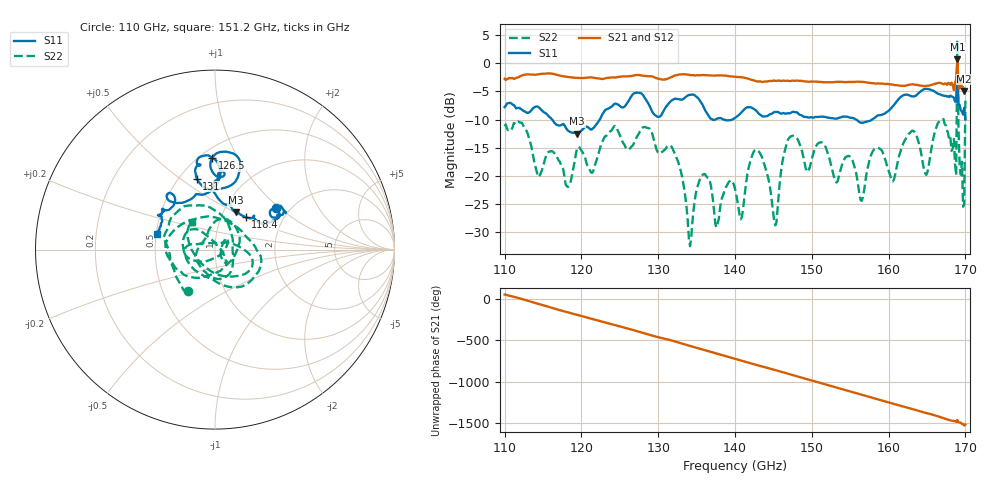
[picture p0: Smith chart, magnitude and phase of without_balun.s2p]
# GHz S RI R 50
! S-Parameters data
! Freq  reS11  imS11  reS21  imS21  reS12  imS12  reS22  imS22
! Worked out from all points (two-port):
!   401 points, 110 GHz to 170 GHz, reference 50 ohm
!   highest |S21| = 0.69 dB at 168.9 GHz (marker M1); lowest = -4.9 dB at 169.8 GHz (marker M2)
!   |S21| within 3 dB of the highest: 112 GHz to 117.6 GHz (5.625 GHz wide, 4.9 % of centre); 131.9 GHz to 139.4 GHz (7.434 GHz wide, 5.48 % of centre)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
!   lowest |S11| = -12.5 dB at 119.5 GHz (marker M3), VSWR 1.62, Z = 57 + j25.1 ohm
!   |S11| at or under -10 dB: 116.2 GHz to 122.4 GHz (6.201 GHz wide, 5.2 % of centre); 138.5 GHz to 139.7 GHz (1.125 GHz wide, 0.809 % of centre); 155.8 GHz to 157.9 GHz (2.074 GHz wide, 1.32 % of centre)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
!   |S22| runs from -32.5 to 4.1 dB; largest |S21 - S12| = 8.3e-16
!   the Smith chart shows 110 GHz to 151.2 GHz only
!   S11 on the Smith chart (normalised r, x): 110 GHz: 1.70, +0.94; 118.4 GHz: 1.30, +0.50; 126.5 GHz: 0.57, +0.79; 131 GHz: 0.61, +0.58; 151.2 GHz: 0.50, +0.10
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110  0.3385 0.2297  0.4162 0.5966  0.4162 0.5966  -0.1492 -0.2327
115.1  0.3298 0.1627  0.1818 -0.7876  0.1818 -0.7876  0.0992 -0.0805
118.4  0.1705 0.1806  -0.7279 -0.1991  -0.7279 -0.1991  -0.0521 0.063
119.45  0.1143 0.2074  -0.7296 0.1399  -0.7296 0.1399  0.0341 0.1721
120.05  0.0891 0.2383  -0.6665 0.3213  -0.6665 0.3213  0.1233 0.1108
123.2  0.00996 0.3876  0.1813 0.7165  0.1813 0.7165  -0.1881 -0.1245
126.5  -0.0171 0.5093  0.7637 -0.1108  0.7637 -0.1108  0.1505 0.101
130.1  -0.0116 0.3345  -0.173 -0.707  -0.173 -0.707  -0.0582 -0.1483
131  -0.1023 0.3954  -0.3959 -0.6038  -0.3959 -0.6038  -0.1753 0.000825
134.15  -0.0753 0.5195  -0.6985 0.3651  -0.6985 0.3651  0.018 0.0154
136.1  0.02 0.3836  -0.1552 0.769  -0.1552 0.769  0.0637 -0.0816
140  -0.1985 0.2605  0.7592 -0.0446  0.7592 -0.0446  0.0699 0.032
143  -0.2228 0.2862  0.0919 -0.6833  0.0919 -0.6833  -0.1664 0.00331
146.15  -0.2912 0.21  -0.6694 -0.2068  -0.6694 -0.2068  0.1285 0.0195
150.05  -0.3092 0.1161  -0.039 0.6868  -0.039 0.6868  -0.1429 0.0284
151.25  -0.3244 0.0869  0.3238 0.6006  0.3238 0.6006  -0.1284 0.1514
156.35  -0.295 -0.0362  0.1887 -0.658  0.1887 -0.658  -0.058 -0.019
160.1  -0.3029 -0.2354  -0.6467 -0.0681  -0.6467 -0.0681  0.1028 -0.0279
164  -0.4552 -0.3116  0.0716 0.6312  0.0716 0.6312  -0.1874 0.0241
168.95  -1.027 -0.377  0.9954 -0.4264  0.9954 -0.4264  -0.8243 1.369
169.85  -0.4022 0.0109  0.00723 -0.5685  0.00723 -0.5685  0.0175 -0.053
170  -0.3167 -0.0392  0.1147 -0.575  0.1147 -0.575  -0.3809 -0.2664
